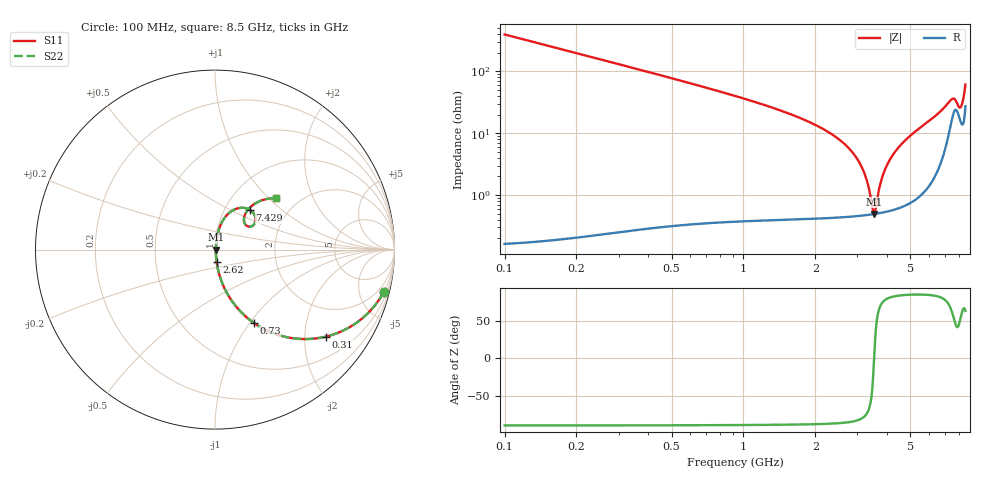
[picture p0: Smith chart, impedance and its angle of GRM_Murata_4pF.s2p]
!Murata Part Number: GRM1885C1H4R0WA01
!These Parameters are Measured in Series Mode Connection
!Data Generated on Mar 13, 2026
!  o--ll--o
!Port1  Port2
!  o------o
!Operation Temp=25[degC], DC Bias Voltage=0[V]
!Freq. Start=100[MHz] Stop=9[GHz] 401[Steps]
# Hz S RI R 50
!Freq.(Hz) S11(Real) S11(Imag) S21(Real) S21(Imag) S12(Real) S12(Imag) S22(Real) S22(Imag)
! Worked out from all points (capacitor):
!   401 points, 100 MHz to 8.5 GHz, reference 50 ohm
!   read as one part in series: C = 4 pF near 142 MHz
!   lowest |Z| = 492 mohm at 3.523 GHz (marker M1)
!   series resonance near 3.526 GHz, so ESL is about 510 pH
!   S11 on the Smith chart (normalised r, x): 100 MHz: 1.00, -7.95; 310 MHz: 1.01, -2.55; 730 MHz: 1.01, -1.04; 2.62 GHz: 1.01, -0.14; 7.429 GHz: 1.31, +0.63; 8.5 GHz: 1.55, +1.10
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1e8  0.9404 -0.2365  0.0596 0.2365  0.0596 0.2365  0.9404 -0.2365
2.05e8  0.7887 -0.4077  0.2113 0.4077  0.2113 0.4077  0.7887 -0.4077
3.1e8  0.6181 -0.4849  0.3819 0.4849  0.3819 0.4849  0.6181 -0.4849
4.99e8  0.3793 -0.4832  0.6207 0.4832  0.6207 0.4832  0.3793 -0.4832
7.3e8  0.2155 -0.4078  0.7845 0.4078  0.7845 0.4078  0.2155 -0.4078
1.507e9  0.0484 -0.2057  0.9516 0.2057  0.9516 0.2057  0.0484 -0.2057
2.62e9  0.00912 -0.0687  0.9909 0.0687  0.9909 0.0687  0.00912 -0.0687
2.914e9  0.00646 -0.0441  0.9935 0.0441  0.9935 0.0441  0.00646 -0.0441
3.25e9  0.00506 -0.019  0.9949 0.019  0.9949 0.019  0.00506 -0.019
3.523e9  0.0049 -0.000193  0.9951 0.000193  0.9951 0.000193  0.0049 -0.000193
3.565e9  0.00494 0.00259  0.9951 -0.00259  0.9951 -0.00259  0.00494 0.00259
3.733e9  0.00527 0.0135  0.9947 -0.0135  0.9947 -0.0135  0.00527 0.0135
3.859e9  0.00567 0.0215  0.9943 -0.0215  0.9943 -0.0215  0.00567 0.0215
4.3e9  0.00813 0.0482  0.9919 -0.0482  0.9919 -0.0482  0.00813 0.0482
4.867e9  0.0137 0.0814  0.9863 -0.0814  0.9863 -0.0814  0.0137 0.0814
5.707e9  0.0289 0.1318  0.9711 -0.1318  0.9711 -0.1318  0.0289 0.1318
7.114e9  0.128 0.2302  0.872 -0.2302  0.872 -0.2302  0.128 0.2302
7.429e9  0.1936 0.2217  0.8064 -0.2217  0.8064 -0.2217  0.1936 0.2217
7.702e9  0.2259 0.1607  0.7741 -0.1607  0.7741 -0.1607  0.2259 0.1607
8.08e9  0.1649 0.147  0.8351 -0.147  0.8351 -0.147  0.1649 0.147
8.311e9  0.1859 0.225  0.8141 -0.225  0.8141 -0.225  0.1859 0.225
8.5e9  0.3388 0.2862  0.6612 -0.2862  0.6612 -0.2862  0.3388 0.2862
